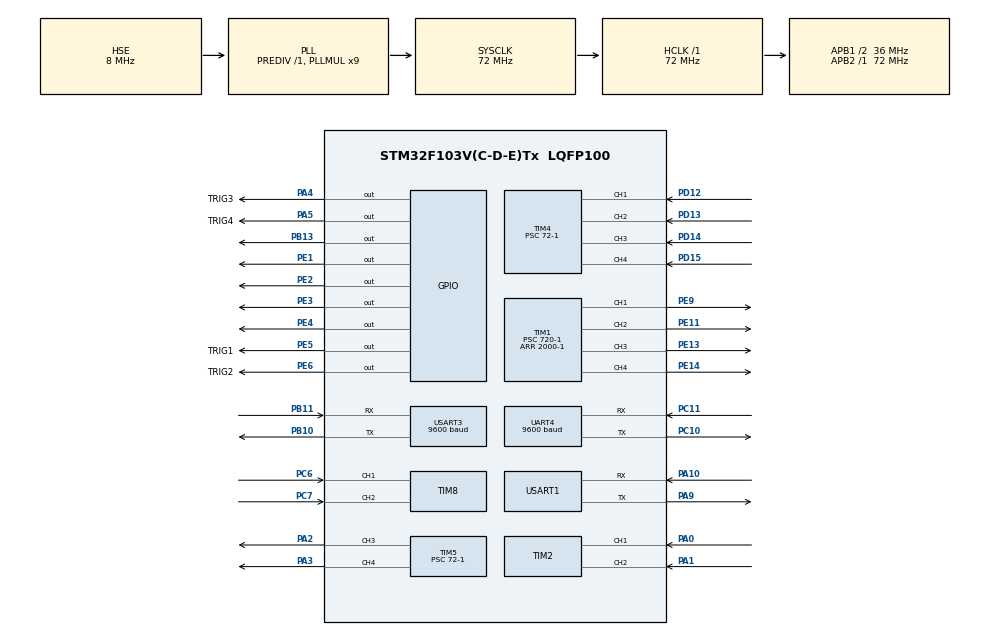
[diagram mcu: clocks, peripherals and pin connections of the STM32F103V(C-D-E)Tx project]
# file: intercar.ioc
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Mcu.Family=STM32F1
NVIC.USART3_IRQn=true\:1\:0\:true\:false\:true\:true\:true
SH.S_TIM1_CH4.0=TIM1_CH4,PWM Generation4 CH4
TIM4.Channel-Input_Capture3_from_TI3=TIM_CHANNEL_3
PB10.Mode=Asynchronous
PC10.Signal=UART4_TX
TIM8.EncoderMode=TIM_ENCODERMODE_TI12
TIM2.EncoderMode=TIM_ENCODERMODE_TI12
PB11.Signal=USART3_RX
PB13.Signal=GPIO_Output
PE6.GPIO_Label=TRIG2
RCC.SYSCLKSource=RCC_SYSCLKSOURCE_PLLCLK
ProjectManager.StackSize=0x400
TIM4.Channel-Input_Capture1_from_TI1=TIM_CHANNEL_1
VP_TIM7_VS_ClockSourceINT.Mode=Enable_Timer
PD13.Signal=S_TIM4_CH2
TIM1.Prescaler=720-1
USART3.BaudRate=9600
TIM1.Channel-PWM\ Generation4\ CH4=TIM_CHANNEL_4
UART4.BaudRate=9600
RCC.HCLKFreq_Value=72000000
RCC.APB2TimFreq_Value=72000000
TIM4.ICFilter_CH3=8
TIM4.ICFilter_CH2=8
TIM4.ICFilter_CH1=8
PC7.Signal=S_TIM8_CH2
SH.S_TIM5_CH3.0=TIM5_CH3,PWM Generation3 CH3
TIM4.ICFilter_CH4=8
TIM7.Period=5000-1
PE5.Signal=GPIO_Output
OSC_OUT.Mode=HSE-External-Oscillator
PE1.Signal=GPIO_Output
OSC_OUT.Signal=RCC_OSC_OUT
RCC.AHBFreq_Value=72000000
RCC.PLLMUL=RCC_PLL_MUL9
PE13.Signal=S_TIM1_CH3
TIM5.Channel-PWM\ Generation4\ CH4=TIM_CHANNEL_4
TIM1.Channel-PWM\ Generation1\ CH1=TIM_CHANNEL_1
PE9.Signal=S_TIM1_CH1
PA14.Mode=Serial_Wire
TIM3.Prescaler=7200-1
SH.S_TIM4_CH2.0=TIM4_CH2,Input_Capture2_from_TI2
PE2.Signal=GPIO_Output
PE4.Signal=GPIO_Output
Mcu.Package=LQFP100
PD12.Signal=S_TIM4_CH1
PA10.Signal=USART1_RX
PC11.Mode=Asynchronous
SH.S_TIM4_CH1.0=TIM4_CH1,Input_Capture1_from_TI1
RCC.APB1TimFreq_Value=72000000
TIM1.Period=2000-1
NVIC.USART1_IRQn=true\:1\:0\:true\:false\:true\:true\:true
PA4.GPIO_Label=TRIG3
PD15.Signal=S_TIM4_CH4
NVIC.TIM7_IRQn=true\:3\:0\:true\:false\:true\:true\:true
VP_TIM3_VS_ClockSourceINT.Mode=Internal
PA3.Signal=S_TIM5_CH4
NVIC.UART4_IRQn=true\:0\:0\:true\:false\:true\:true\:true
RCC.PLLSourceVirtual=RCC_PLLSOURCE_HSE
PA10.Mode=Asynchronous
SH.S_TIM4_CH4.0=TIM4_CH4,Input_Capture4_from_TI4
PC11.Signal=UART4_RX
PC6.Signal=S_TIM8_CH1
PC10.Mode=Asynchronous
TIM5.Channel-PWM\ Generation3\ CH3=TIM_CHANNEL_3
RCC.APB1CLKDivider=RCC_HCLK_DIV2
UART4.VirtualMode=Asynchronous
TIM4.Channel-Input_Capture2_from_TI2=TIM_CHANNEL_2
SH.S_TIM8_CH2.0=TIM8_CH2,Encoder_Interface
PA0-WKUP.Signal=S_TIM2_CH1_ETR
PA13.Signal=SYS_JTMS-SWDIO
SH.S_TIM2_CH2.0=TIM2_CH2,Encoder_Interface
PA9.Mode=Asynchronous
TIM4.Channel-Input_Capture4_from_TI4=TIM_CHANNEL_4
SH.S_TIM1_CH1.0=TIM1_CH1,PWM Generation1 CH1
PB11.Mode=Asynchronous
ProjectManager.TargetToolchain=STM32CubeIDE
SH.S_TIM4_CH3.0=TIM4_CH3,Input_Capture3_from_TI3
PA9.Signal=USART1_TX
TIM1.Channel-PWM\ Generation2\ CH2=TIM_CHANNEL_2
OSC_IN.Signal=RCC_OSC_IN
RCC.USBFreq_Value=72000000
TIM4.Prescaler=72-1
PE11.Signal=S_TIM1_CH2
PA1.Signal=S_TIM2_CH2
PB10.Signal=USART3_TX
PA5.Signal=GPIO_Output
SH.S_TIM8_CH1.0=TIM8_CH1,Encoder_Interface
TIM7.Prescaler=720-1
board=custom
RCC.APB2Freq_Value=72000000
PE14.Signal=S_TIM1_CH4
SH.S_TIM1_CH2.0=TIM1_CH2,PWM Generation2 CH2
SH.S_TIM5_CH4.0=TIM5_CH4,PWM Generation4 CH4
PE6.Signal=GPIO_Output
PA13.Mode=Serial_Wire
Mcu.Name=STM32F103V(C-D-E)Tx
PA2.Signal=S_TIM5_CH3
PD14.Signal=S_TIM4_CH3
PA4.Signal=GPIO_Output
RCC.SYSCLKFreq_VALUE=72000000
PA5.GPIO_Label=TRIG4
TIM5.Prescaler=72-1
OSC_IN.Mode=HSE-External-Oscillator
USART3.VirtualMode=VM_ASYNC
PE5.GPIO_Label=TRIG1
USART1.VirtualMode=VM_ASYNC
SH.S_TIM2_CH1_ETR.0=TIM2_CH1,Encoder_Interface
PA14.Signal=SYS_JTCK-SWCLK
ProjectManager.HeapSize=0x200
SH.S_TIM1_CH3.0=TIM1_CH3,PWM Generation3 CH3
VP_TIM4_VS_ClockSourceINT.Mode=Internal
NVIC.PriorityGroup=NVIC_PRIORITYGROUP_4
PE3.Signal=GPIO_Output
TIM5.Period=800-1
TIM1.Channel-PWM\ Generation3\ CH3=TIM_CHANNEL_3
NVIC.TIM4_IRQn=true\:2\:0\:true\:false\:true\:true\:true
RCC.APB1Freq_Value=36000000

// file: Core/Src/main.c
/* USER CODE BEGIN Header */
/**
  ******************************************************************************
  * @file           : main.c
  * @brief          : Main program body
  ******************************************************************************
  * @attention
  *
  * <h2><center>&copy; Copyright (c) 2022 STMicroelectronics.
  * All rights reserved.</center></h2>
  *
  * This software component is licensed by ST under BSD 3-Clause license,
  * the "License"; You may not use this file except in compliance with the
  * License. You may obtain a copy of the License at:
  *                        opensource.org/licenses/BSD-3-Clause
  *
  ******************************************************************************
  */
/* USER CODE END Header */
#include "main.h"
#include "tim.h"
#include "usart.h"
#include "gpio.h"

/* USER CODE BEGIN Includes */
#include "motor.h"
#include "servo.h"
#include "control.h"
#include "sonic.h"
#include "bluetooth.h"
#include "openmv.h"
#include "imu.h"
#include <stdio.h>
#include <math.h>
/* USER CODE END Includes */

/* USER CODE BEGIN PV */
uint8_t IS_FIRDT_CAPTURED;
uint8_t USART1_RXbuff;
uint16_t echo1=0;
uint16_t echo2=0;
uint16_t count=0;
int i=0;
UART_HandleTypeDef huart3;
/* USER CODE END PV */

void SystemClock_Config(void);

int main(void)
{

  /* MCU Configuration--------------------------------------------------------*/

  /* Reset of all peripherals, Initializes the Flash interface and the Systick. */
  HAL_Init();

  /* Configure the system clock */
  SystemClock_Config();

  /* Initialize all configured peripherals */
  MX_GPIO_Init();
  MX_TIM1_Init();
  MX_TIM2_Init();
  MX_TIM4_Init();
  MX_TIM5_Init();
  MX_TIM7_Init();
  MX_TIM8_Init();
  MX_UART4_Init();
  MX_USART1_UART_Init();
  MX_USART3_UART_Init();
  MX_TIM3_Init();
  /* USER CODE BEGIN 2 */
  mode=0;
  motor_init();
  servo1_init();
  servo2_init();
  servo4_init();
  is_close1=is_close2=is_close3=is_close4=500;
  is_down=is_groundturn=is_shut=is_stopping=is_fetch=0;
  deviation=deviation_f=turn_target=check_flag=imu_check=0;
  deviation_s=100;
  targetspeed=550;
  lefttarget=righttarget=0;
  curvature=curv_error=0;
  total_distance=theta0=0;
  Rx_command='0';
  avoid_dir=turn_flag=stop_flag=0;
  avoid_comfirm=1;
  IS_FIRDT_CAPTURED=0;
  HAL_TIM_Base_Start(&htim4);
  HAL_TIM_Base_Start(&htim3);
  HAL_TIM_IC_Start_IT(&htim4,TIM_CHANNEL_1);
  HAL_TIM_IC_Start_IT(&htim4,TIM_CHANNEL_2);
  HAL_TIM_IC_Start_IT(&htim4,TIM_CHANNEL_3);
  HAL_TIM_IC_Start_IT(&htim4,TIM_CHANNEL_4);
  HAL_UART_Receive_IT(&huart1,(void *)&USART1_RXbuff,1);
  HAL_UART_Receive_IT(&huart4,&Rx_byte,sizeof(Rx_byte));
  HAL_GPIO_WritePin(GPIOB, GPIO_PIN_13,GPIO_PIN_SET);
  /* USER CODE END 2 */

  /* Infinite loop */
  while (1)
  {

  }
}

void SystemClock_Config(void)
{
  RCC_OscInitTypeDef RCC_OscInitStruct = {0};
  RCC_ClkInitTypeDef RCC_ClkInitStruct = {0};

  /** Initializes the RCC Oscillators according to the specified parameters
  * in the RCC_OscInitTypeDef structure.
  */
  RCC_OscInitStruct.OscillatorType = RCC_OSCILLATORTYPE_HSE;
  RCC_OscInitStruct.HSEState = RCC_HSE_ON;
  RCC_OscInitStruct.HSEPredivValue = RCC_HSE_PREDIV_DIV1;
  RCC_OscInitStruct.HSIState = RCC_HSI_ON;
  RCC_OscInitStruct.PLL.PLLState = RCC_PLL_ON;
  RCC_OscInitStruct.PLL.PLLSource = RCC_PLLSOURCE_HSE;
  RCC_OscInitStruct.PLL.PLLMUL = RCC_PLL_MUL9;
  if (HAL_RCC_OscConfig(&RCC_OscInitStruct) != HAL_OK)
  {
    Error_Handler();
  }
  /** Initializes the CPU, AHB and APB buses clocks
  */
  RCC_ClkInitStruct.ClockType = RCC_CLOCKTYPE_HCLK|RCC_CLOCKTYPE_SYSCLK
                              |RCC_CLOCKTYPE_PCLK1|RCC_CLOCKTYPE_PCLK2;
  RCC_ClkInitStruct.SYSCLKSource = RCC_SYSCLKSOURCE_PLLCLK;
  RCC_ClkInitStruct.AHBCLKDivider = RCC_SYSCLK_DIV1;
  RCC_ClkInitStruct.APB1CLKDivider = RCC_HCLK_DIV2;
  RCC_ClkInitStruct.APB2CLKDivider = RCC_HCLK_DIV1;

  if (HAL_RCC_ClockConfig(&RCC_ClkInitStruct, FLASH_LATENCY_2) != HAL_OK)
  {
    Error_Handler();
  }
}

/* USER CODE BEGIN 4 */
void HAL_TIM_PeriodElapsedCallback(TIM_HandleTypeDef *htim)
{
	if(htim->Instance == TIM7&&(mode!=0))
	{
		if(mode==1){
			targetspeed=500;
			//spinspeed=300;
		}
		if(mode==2){
			if(is_fetch==0){
				targetspeed=120;
				//spinspeed=100;
			    if(deviation_f==99){spin(1);}
			    else if(deviation_f!=99){
			    	alongside(deviation_f-3);
                    if(deviation_s<=55){
                    	setspeed(0,0);
                    	stop_flag+=1;
                    	if(stop_flag==10){
                    	    fetchplace();
                    	    uint8_t  CO3AskBuffer[3]={0xa0,1,0xa1};
                    	    HAL_UART_Transmit_IT(&huart1, (uint8_t *)CO3AskBuffer, sizeof(CO3AskBuffer));
                    	    for(int i=0;i<18;i++)
                    	    {servo4_turn(42+i);}
                    	    stop_flag=0;
                    	}
                    }
			    }
			}
			else if(is_fetch==1){
				targetspeed=200;
				setspeed(targetspeed,0);
	            turn_flag+=1;
				if(turn_flag>=60){
				     setspeed(0,0);
				     stop_flag+=1;
				     if(stop_flag==10){
				          stop_flag=0;
				          turn_flag=0;
				     }
				}
			}
		}
		if(mode==3){
			targetspeed=460;
			alongside(deviation);
		}
		if(mode==4){
			targetspeed=320;
		    servo3_scan();
		    HAL_UART_Receive(&huart3,IMURxBuffer,22,40);
		    JY901_Process();
            if(is_groundturn==0&&is_stopping==0){avoidance();}
            else if(is_groundturn!=0&&is_stopping==0){
            	turn_flag+=1;
            	if(turn_flag<turn_target)
            	{spin(is_groundturn);}
            	else if(turn_flag==turn_target){
            		avoid_stop();
            	}
            	else if((turn_flag>turn_target)&&(turn_flag<=turn_target+4)){setspeed(targetspeed,0);}
            	else if(turn_flag>turn_target+4){
            		avoid_stop();
            		is_groundturn=0;
            		turn_flag=0;
            	}
            }
            else if(is_stopping==1){
            	stop_flag+=1;
            	setspeed(0,0);
            	if(stop_flag==8){
            	    is_stopping=0;
            	    stop_flag=0;
            	}
            }
		}
		if(mode==5){
			HAL_GPIO_WritePin(GPIOB, GPIO_PIN_13,GPIO_PIN_RESET);
			targetspeed=150;
			if(is_stopping==0){
			    if(is_fetch==1){
				    if(deviation_f==99){spin(1);}
				    else if(deviation_f!=99){
				    	alongside(deviation_f);
				    	if(deviation_s<=17){
				    		setspeed(0,0);
				    		stop_flag+=1;
				    		if(stop_flag==10){
				    			fetchplace();
				    			is_fetch=0;
				    			stop_flag=0;
				    		}
				    	}
				    }
			    }
			    else if(is_fetch==0){
			    	setspeed(0,0);
			    	mode=0;
			    }
			}
			else if(is_stopping==1){
				stop_flag+=1;
				setspeed(0,0);
				if(stop_flag==20){
				     is_stopping=0;
				     stop_flag=0;
				}
			}
		}
		leftfeedback = motor_leftfeedback();			//获取当前速度
		rightfeedback = motor_rightfeedback();
		int leftdifference = leftspeedPID(lefttarget,leftfeedback,&lefterror);//当前PWM数�?�加上增量式PID计算�???????????????????????????????????????????????�???????????????????????????????????????????????
		int rightdifference = rightspeedPID(righttarget,rightfeedback,&righterror);//当前PWM数�?�加上增量式PID计算�???????????????????????????????????????????????�???????????????????????????????????????????????
		leftspeed += leftdifference;
		rightspeed += rightdifference;
		//限制PWM占空比范围
		if(leftspeed>maxspeed){leftspeed = maxspeed;}
		if(leftspeed<-maxspeed){leftspeed = -maxspeed;}
		if(rightspeed>maxspeed){rightspeed = maxspeed;}
		if(rightspeed<-maxspeed){rightspeed = -maxspeed;}
		if(lefttarget == 0 && leftfeedback ==0){leftspeed = 0;}
		if(righttarget == 0 && rightfeedback ==0){rightspeed = 0;}
		//将PID处理后的目标速度写入系统
		motor_PWM(leftspeed,rightspeed);
	}
}
void HAL_TIM_IC_CaptureCallback(TIM_HandleTypeDef *htim)
{
	if(htim->Instance == TIM4){
	if(htim->Channel==HAL_TIM_ACTIVE_CHANNEL_1)
	{
		if(IS_FIRDT_CAPTURED==0)
		{
			IS_FIRDT_CAPTURED=1;
			echo1=HAL_TIM_ReadCapturedValue(&htim4,TIM_CHANNEL_1);
			__HAL_TIM_SET_CAPTUREPOLARITY(&htim4,TIM_CHANNEL_1,TIM_INPUTCHANNELPOLARITY_FALLING);
		}
		else if(IS_FIRDT_CAPTURED==1)
		{
			IS_FIRDT_CAPTURED=0;
			echo2=HAL_TIM_ReadCapturedValue(&htim4,TIM_CHANNEL_1);
			__HAL_TIM_SET_COUNTER(&htim4,0);
			if(echo1<echo2){count=echo2-echo1;}
			else if(echo1>echo2){count=0xffff-echo1+echo2;}
			distance1=count*0.17;//测得距离单位为mm
			__HAL_TIM_SET_CAPTUREPOLARITY(&htim4,TIM_CHANNEL_1,TIM_INPUTCHANNELPOLARITY_RISING);
			__HAL_TIM_DISABLE_IT(&htim4,TIM_IT_CC1);
		}
	}
	if(htim->Channel==HAL_TIM_ACTIVE_CHANNEL_2)
	{
		if(IS_FIRDT_CAPTURED==0)
		{
			IS_FIRDT_CAPTURED=1;
			echo1=HAL_TIM_ReadCapturedValue(&htim4,TIM_CHANNEL_2);
			__HAL_TIM_SET_CAPTUREPOLARITY(&htim4,TIM_CHANNEL_2,TIM_INPUTCHANNELPOLARITY_FALLING);
		}
		else if(IS_FIRDT_CAPTURED==1)
		{
			IS_FIRDT_CAPTURED=0;
			echo2=HAL_TIM_ReadCapturedValue(&htim4,TIM_CHANNEL_2);
			__HAL_TIM_SET_COUNTER(&htim4,0);
			if(echo1<echo2){count=echo2-echo1;}
			else if(echo1>echo2){count=0xffff-echo1+echo2;}
			distance2=count*0.17;//测得距离单位为mm
			__HAL_TIM_SET_CAPTUREPOLARITY(&htim4,TIM_CHANNEL_2,TIM_INPUTCHANNELPOLARITY_RISING);
			__HAL_TIM_DISABLE_IT(&htim4,TIM_IT_CC2);
		}
	}
	if(htim->Channel==HAL_TIM_ACTIVE_CHANNEL_3)
	{
		if(IS_FIRDT_CAPTURED==0)
		{
			IS_FIRDT_CAPTURED=1;
			echo1=HAL_TIM_ReadCapturedValue(&htim4,TIM_CHANNEL_3);
			__HAL_TIM_SET_CAPTUREPOLARITY(&htim4,TIM_CHANNEL_3,TIM_INPUTCHANNELPOLARITY_FALLING);
		}
		else if(IS_FIRDT_CAPTURED==1)
		{
			IS_FIRDT_CAPTURED=0;
			echo2=HAL_TIM_ReadCapturedValue(&htim4,TIM_CHANNEL_3);
			__HAL_TIM_SET_COUNTER(&htim4,0);
			if(echo1<echo2){count=echo2-echo1;}
			else if(echo1>echo2){count=0xffff-echo1+echo2;}
			distance3=count*0.17;//测得距离单位为mm
			__HAL_TIM_SET_CAPTUREPOLARITY(&htim4,TIM_CHANNEL_3,TIM_INPUTCHANNELPOLARITY_RISING);
			__HAL_TIM_DISABLE_IT(&htim4,TIM_IT_CC3);
		}
	}
	if(htim->Channel==HAL_TIM_ACTIVE_CHANNEL_4)
	{
		if(IS_FIRDT_CAPTURED==0)
		{
			IS_FIRDT_CAPTURED=1;
			echo1=HAL_TIM_ReadCapturedValue(&htim4,TIM_CHANNEL_4);
			__HAL_TIM_SET_CAPTUREPOLARITY(&htim4,TIM_CHANNEL_4,TIM_INPUTCHANNELPOLARITY_FALLING);
		}
		else if(IS_FIRDT_CAPTURED==1)
		{
			IS_FIRDT_CAPTURED=0;
			echo2=HAL_TIM_ReadCapturedValue(&htim4,TIM_CHANNEL_4);
			__HAL_TIM_SET_COUNTER(&htim4,0);
			if(echo1<echo2){count=echo2-echo1;}
			else if(echo1>echo2){count=0xffff-echo1+echo2;}
			distance4=count*0.17;//测得距离单位为mm
			__HAL_TIM_SET_CAPTUREPOLARITY(&htim4,TIM_CHANNEL_4,TIM_INPUTCHANNELPOLARITY_RISING);
			__HAL_TIM_DISABLE_IT(&htim4,TIM_IT_CC4);
		}
	}
	}
}
void HAL_UART_RxCpltCallback(UART_HandleTypeDef *huart)
{
	if(huart->Instance == UART4)
	{
		Rx_buffer[Rx_len] = Rx_byte;
		Rx_len++;
		if(Rx_len==RXBUFFER_LEN)
		{
			extract_RX();
			Rx_len=0;
			mode_switch(Rx_command);
			if(mode==1){remote_control(Rx_command);}
		}
		HAL_UART_Receive_IT(&huart4,&Rx_byte,sizeof(Rx_byte));		// 重新使能串口4接收中断
	}
	if(huart->Instance == USART1)
	{
		uint16_t tempt /*定义临时变量存放接受的数�????????????????*/;
		tempt=USART1_RXbuff;
		Openmv_Receive_Data(tempt);
		extract_MVRX1();
		extract_MVRX2();
		extract_MVRX3();
	    HAL_UART_Receive_IT(&huart1,(void *)&USART1_RXbuff,1);
	}
}
/* USER CODE END 4 */

void Error_Handler(void)
{
  __disable_irq();
  while (1)
  {
  }
}

/************************ (C) COPYRIGHT STMicroelectronics *****END OF FILE****/
